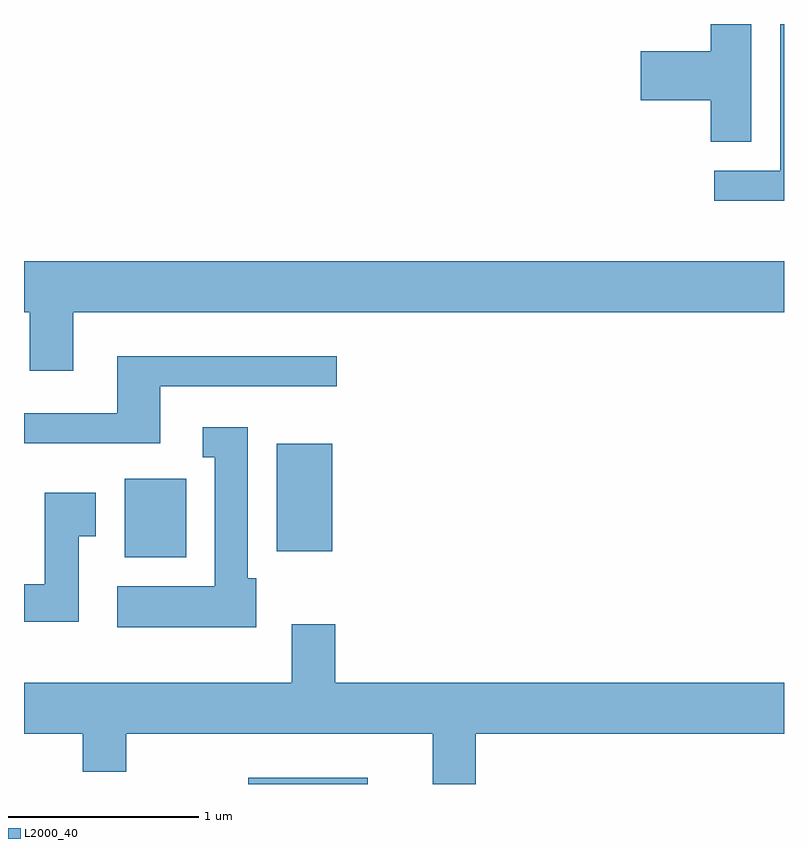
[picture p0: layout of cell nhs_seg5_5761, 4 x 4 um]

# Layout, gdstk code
import gdstk
lib = gdstk.Library(unit=1e-6, precision=1e-09)
def R(c, l, rs):  # rectangles x0, y0, x1, y1
    for r in rs: c.add(gdstk.rectangle(r[:2], r[2:], *l))
def P(c, l, *ps):  # polygons
    for p in ps: c.add(gdstk.Polygon(p, *l))
L2000_40 = (2000, 40)

nhs_seg5_5761 = lib.new_cell('nhs_seg5_5761')
R(nhs_seg5_5761, L2000_40, [(356.791,1472.072,357.419,1472.104), (356.141,1473.266,356.464,1473.679), (356.941,1473.296,357.234,1473.864)])
P(nhs_seg5_5761, L2000_40, [(359.611,1476.072),(359.591,1476.072),(359.591,1475.299),(359.243,1475.299),(359.243,1475.141),(359.611,1475.141)],
  [(359.439,1476.072),(359.226,1476.072),(359.226,1475.929),(358.856,1475.929),(358.856,1475.671),(359.226,1475.671),(359.226,1475.451),(359.439,1475.451)],
  [(355.869,1474.556),(359.611,1474.556),(359.611,1474.824),(355.611,1474.824),(355.611,1474.556),(355.641,1474.556),(355.641,1474.246),(355.869,1474.246)],
  [(356.329,1474.166),(357.258,1474.166),(357.258,1474.324),(356.101,1474.324),(356.101,1474.024),(355.611,1474.024),(355.611,1473.866),(356.329,1473.866)],
  [(356.834,1473.154),(356.789,1473.154),(356.789,1473.949),(356.553,1473.949),(356.553,1473.791),(356.616,1473.791),(356.616,1473.114),(356.101,1473.114),(356.101,1472.896),(356.834,1472.896)],
  [(355.899,1473.376),(355.989,1473.376),(355.989,1473.604),(355.721,1473.604),(355.721,1473.124),(355.611,1473.124),(355.611,1472.926),(355.899,1472.926)],
  [(357.989,1472.336),(359.611,1472.336),(359.611,1472.604),(357.249,1472.604),(357.249,1472.914),(357.021,1472.914),(357.021,1472.604),(355.611,1472.604),(355.611,1472.336),(355.921,1472.336),(355.921,1472.136),(356.149,1472.136),(356.149,1472.336),(357.761,1472.336),(357.761,1472.072),(357.989,1472.072)])

lib.write_gds('nhs_seg5_5761.gds')
